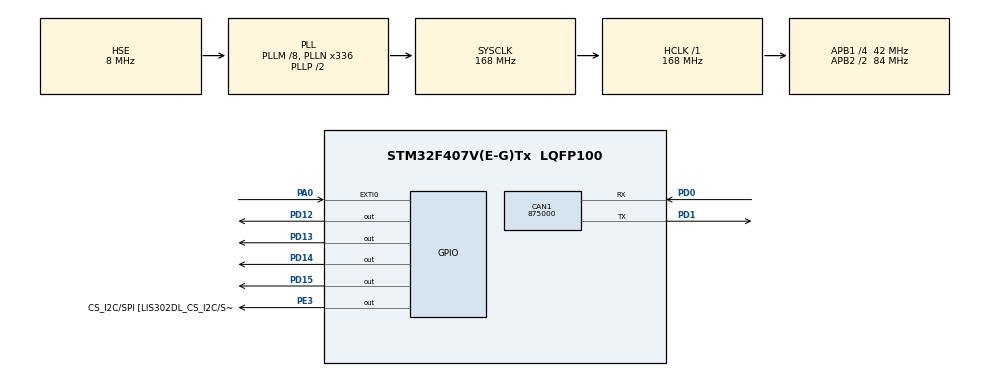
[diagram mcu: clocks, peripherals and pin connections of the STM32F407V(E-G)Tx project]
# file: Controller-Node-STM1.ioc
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CAN1.CalculateBaudRate=875000
CAN1.CalculateTimeBit=1142.85
CAN1.CalculateTimeQuantum=380.95238095238096
Mcu.Family=STM32F4
Mcu.Name=STM32F407V(E-G)Tx
Mcu.Package=LQFP100
NVIC.EXTI0_IRQn=true\:0\:0\:false\:false\:true\:true\:true
NVIC.PriorityGroup=NVIC_PRIORITYGROUP_0
PA0-WKUP.Signal=GPXTI0
PD0.Mode=CAN_Activate
PD0.Signal=CAN1_RX
PD1.Mode=CAN_Activate
PD1.Signal=CAN1_TX
PD12.Signal=GPIO_Output
PD13.Signal=GPIO_Output
PD14.Signal=GPIO_Output
PD15.Signal=GPIO_Output
PE3.GPIO_Label=CS_I2C/SPI [LIS302DL_CS_I2C/SPI]
PE3.GPIO_PuPd=GPIO_NOPULL
PE3.GPIO_Speed=GPIO_SPEED_FREQ_LOW
PE3.Signal=GPIO_Output
PH0-OSC_IN.GPIO_Label=PH0-OSC_IN
PH0-OSC_IN.Mode=HSE-External-Oscillator
PH0-OSC_IN.Signal=RCC_OSC_IN
PH1-OSC_OUT.GPIO_Label=PH1-OSC_OUT
PH1-OSC_OUT.Mode=HSE-External-Oscillator
PH1-OSC_OUT.Signal=RCC_OSC_OUT
ProjectManager.HeapSize=0x200
ProjectManager.StackSize=0x400
ProjectManager.TargetToolchain=STM32CubeIDE
RCC.48MHZClocksFreq_Value=48000000
RCC.AHBFreq_Value=168000000
RCC.APB1CLKDivider=RCC_HCLK_DIV4
RCC.APB1Freq_Value=42000000
RCC.APB1TimFreq_Value=84000000
RCC.APB2CLKDivider=RCC_HCLK_DIV2
RCC.APB2Freq_Value=84000000
RCC.APB2TimFreq_Value=168000000
RCC.CortexFreq_Value=168000000
RCC.HCLKFreq_Value=168000000
RCC.HSE_VALUE=8000000
RCC.HSI_VALUE=16000000
RCC.LSE_VALUE=32768
RCC.PLLM=8
RCC.PLLN=336
RCC.PLLQ=7
RCC.PLLSourceVirtual=RCC_PLLSOURCE_HSE
RCC.SYSCLKFreq_VALUE=168000000
RCC.SYSCLKSource=RCC_SYSCLKSOURCE_PLLCLK
RCC.VCOOutputFreq_Value=336000000
board=STM32F407G-DISC1

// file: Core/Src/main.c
/* USER CODE BEGIN Header */
/**
  ******************************************************************************
  * @file           : main.c
  * @brief          : Main program body
  ******************************************************************************
  * @attention
  *
  * <h2><center>&copy; Copyright (c) 2021 STMicroelectronics.
  * All rights reserved.</center></h2>
  *
  * This software component is licensed by ST under Ultimate Liberty license
  * SLA0044, the "License"; You may not use this file except in compliance with
  * the License. You may obtain a copy of the License at:
  *                             www.st.com/SLA0044
  *
  ******************************************************************************
  */
/* USER CODE END Header */
#include "main.h"

CAN_HandleTypeDef hcan1;

/* USER CODE BEGIN PV */
CAN_TxHeaderTypeDef pTxHeader; //CAN Tx Header
CAN_RxHeaderTypeDef pRxHeader; //CAN Rx Header
uint32_t pTxMailbox;
uint8_t a,r; //transmit, receive byte through CAN
CAN_FilterTypeDef sFilterConfig; //CAN filter configuration

/* USER CODE END PV */

void SystemClock_Config(void);
static void MX_GPIO_Init(void);
static void MX_CAN1_Init(void);
/* USER CODE BEGIN PFP */
static void CAN_TxHeader_Init(CAN_TxHeaderTypeDef *pTxHeader, uint32_t dlc,uint32_t ide,uint32_t rtr,uint32_t stdId);
static void CAN_Filter_Init(CAN_HandleTypeDef *hcan, CAN_FilterTypeDef *sFilterConfig, uint32_t fifo,uint32_t highId,uint32_t lowId,uint32_t highMask,uint32_t lowMask,uint32_t scale);
HAL_StatusTypeDef CANsend(CAN_HandleTypeDef *hcan, CAN_TxHeaderTypeDef *pTxHeader, uint8_t data[], uint32_t *pTxMailbox);
/* USER CODE END PFP */

int main(void)
{

  /* MCU Configuration--------------------------------------------------------*/

  /* Reset of all peripherals, Initializes the Flash interface and the Systick. */
  HAL_Init();

  /* Configure the system clock */
  SystemClock_Config();

  /* Initialize all configured peripherals */
  MX_GPIO_Init();
  MX_CAN1_Init();
  /* USER CODE BEGIN 2 */

  //Initialize CAN header - standard id type, set standard Id = filter ID of other device
    CAN_TxHeader_Init(&pTxHeader, 1,CAN_ID_STD, CAN_RTR_DATA, 0x244);

    //Initialize CAN filter - filter ID = TxHeader Id of other device, 32 bit scale. Enables and configs filter.
    CAN_Filter_Init(&hcan1, &sFilterConfig, CAN_FILTER_FIFO0, 0x245, 0, 0, 0, CAN_FILTERSCALE_32BIT);

    //start CAN
    HAL_CAN_Start(&hcan1);

    //interrupt on message pending
    HAL_CAN_ActivateNotification(&hcan1, CAN_IT_RX_FIFO0_MSG_PENDING);
  /* USER CODE END 2 */

  /* Infinite loop */
  /* USER CODE BEGIN WHILE */
  while (1)
  {
	  for (int n=0;n<10000000;n++); //delay
	  a++; //increment 8 bit data
	  CANsend(&hcan1, &pTxHeader, &a, &pTxMailbox);
    /* USER CODE END WHILE */

  }
}

void SystemClock_Config(void)
{
  RCC_OscInitTypeDef RCC_OscInitStruct = {0};
  RCC_ClkInitTypeDef RCC_ClkInitStruct = {0};

  /** Configure the main internal regulator output voltage
  */
  __HAL_RCC_PWR_CLK_ENABLE();
  __HAL_PWR_VOLTAGESCALING_CONFIG(PWR_REGULATOR_VOLTAGE_SCALE1);
  /** Initializes the RCC Oscillators according to the specified parameters
  * in the RCC_OscInitTypeDef structure.
  */
  RCC_OscInitStruct.OscillatorType = RCC_OSCILLATORTYPE_HSE;
  RCC_OscInitStruct.HSEState = RCC_HSE_ON;
  RCC_OscInitStruct.PLL.PLLState = RCC_PLL_ON;
  RCC_OscInitStruct.PLL.PLLSource = RCC_PLLSOURCE_HSE;
  RCC_OscInitStruct.PLL.PLLM = 8;
  RCC_OscInitStruct.PLL.PLLN = 336;
  RCC_OscInitStruct.PLL.PLLP = RCC_PLLP_DIV2;
  RCC_OscInitStruct.PLL.PLLQ = 7;
  if (HAL_RCC_OscConfig(&RCC_OscInitStruct) != HAL_OK)
  {
    Error_Handler();
  }
  /** Initializes the CPU, AHB and APB buses clocks
  */
  RCC_ClkInitStruct.ClockType = RCC_CLOCKTYPE_HCLK|RCC_CLOCKTYPE_SYSCLK
                              |RCC_CLOCKTYPE_PCLK1|RCC_CLOCKTYPE_PCLK2;
  RCC_ClkInitStruct.SYSCLKSource = RCC_SYSCLKSOURCE_PLLCLK;
  RCC_ClkInitStruct.AHBCLKDivider = RCC_SYSCLK_DIV1;
  RCC_ClkInitStruct.APB1CLKDivider = RCC_HCLK_DIV4;
  RCC_ClkInitStruct.APB2CLKDivider = RCC_HCLK_DIV2;

  if (HAL_RCC_ClockConfig(&RCC_ClkInitStruct, FLASH_LATENCY_5) != HAL_OK)
  {
    Error_Handler();
  }
}

static void MX_CAN1_Init(void)
{

  hcan1.Instance = CAN1;
  hcan1.Init.Prescaler = 16;
  hcan1.Init.Mode = CAN_MODE_NORMAL;
  hcan1.Init.SyncJumpWidth = CAN_SJW_1TQ;
  hcan1.Init.TimeSeg1 = CAN_BS1_1TQ;
  hcan1.Init.TimeSeg2 = CAN_BS2_1TQ;
  hcan1.Init.TimeTriggeredMode = DISABLE;
  hcan1.Init.AutoBusOff = DISABLE;
  hcan1.Init.AutoWakeUp = DISABLE;
  hcan1.Init.AutoRetransmission = DISABLE;
  hcan1.Init.ReceiveFifoLocked = DISABLE;
  hcan1.Init.TransmitFifoPriority = DISABLE;
  if (HAL_CAN_Init(&hcan1) != HAL_OK)
  {
    Error_Handler();
  }

}

static void MX_GPIO_Init(void)
{
  GPIO_InitTypeDef GPIO_InitStruct = {0};

  /* GPIO Ports Clock Enable */
  __HAL_RCC_GPIOE_CLK_ENABLE();
  __HAL_RCC_GPIOH_CLK_ENABLE();
  __HAL_RCC_GPIOA_CLK_ENABLE();
  __HAL_RCC_GPIOD_CLK_ENABLE();

  /*Configure GPIO pin Output Level */
  HAL_GPIO_WritePin(GPIOE, GPIO_PIN_3, GPIO_PIN_RESET);

  /*Configure GPIO pin Output Level */
  HAL_GPIO_WritePin(GPIOD, GPIO_PIN_12|GPIO_PIN_13|GPIO_PIN_14|GPIO_PIN_15, GPIO_PIN_RESET);

  /*Configure GPIO pin : PE3 */
  GPIO_InitStruct.Pin = GPIO_PIN_3;
  GPIO_InitStruct.Mode = GPIO_MODE_OUTPUT_PP;
  GPIO_InitStruct.Pull = GPIO_NOPULL;
  GPIO_InitStruct.Speed = GPIO_SPEED_FREQ_LOW;
  HAL_GPIO_Init(GPIOE, &GPIO_InitStruct);

  /*Configure GPIO pin : PA0 */
  GPIO_InitStruct.Pin = GPIO_PIN_0;
  GPIO_InitStruct.Mode = GPIO_MODE_IT_RISING;
  GPIO_InitStruct.Pull = GPIO_NOPULL;
  HAL_GPIO_Init(GPIOA, &GPIO_InitStruct);

  /*Configure GPIO pins : PD12 PD13 PD14 PD15 */
  GPIO_InitStruct.Pin = GPIO_PIN_12|GPIO_PIN_13|GPIO_PIN_14|GPIO_PIN_15;
  GPIO_InitStruct.Mode = GPIO_MODE_OUTPUT_PP;
  GPIO_InitStruct.Pull = GPIO_NOPULL;
  GPIO_InitStruct.Speed = GPIO_SPEED_FREQ_LOW;
  HAL_GPIO_Init(GPIOD, &GPIO_InitStruct);

  /* EXTI interrupt init*/
  HAL_NVIC_SetPriority(EXTI0_IRQn, 0, 0);
  HAL_NVIC_EnableIRQ(EXTI0_IRQn);

}

/* USER CODE BEGIN 4 */
/**
  * @brief CAN Tx Header Initialization Function
  * @param pTxHeader : CAN Tx header structure.
  * 	   dlc       : Specifies the length of the frame that will be transmitted.
  *        ide       : Specifies the type of identifier for the message that will be transmitted.
  *        rtr 	     : Specifies the type of frame for the message that will be transmitted.
  *        stdId     : Specifies the standard identifier. This parameter can be a value between 0x0000 and 0x07FF.
  * @retval None
  */
static void CAN_TxHeader_Init(CAN_TxHeaderTypeDef *pTxHeader, uint32_t dlc,uint32_t ide,uint32_t rtr,uint32_t stdId)
{
	  pTxHeader->DLC = dlc; // 'dlc' bytes of data
	  pTxHeader->IDE = ide;
	  pTxHeader->RTR = rtr;
	  pTxHeader->StdId = stdId; //set standard identifier.
}

/**
  * @brief CAN Filter Initialization Function
  * @param hcan          : pointer to a CAN_HandleTypeDef structure that contains the configuration information for the specified CAN.
  *        sFilterConfig : pointer to a CAN_FilterTypeDef structure.
  * 	   fifo          : Specifies the FIFO (0 or 1) which will be assigned to the filter. This parameter can be a value of CAN_filter_FIFO
  * 	   highID        : Specifies the filter identification number (MSBs for a 32-bit configuration, first one for a 16-bit configuration). This parameter can be a value between 0x0000 and 0xFFFF
  * 	   lowID         : Specifies the filter identification number (LSBs for a 32-bit configuration, second one for a 16-bit configuration). This parameter can be a value between 0x0000 and 0xFFFF
  * 	   highMask      : Specifies the filter mask number or identification number, according to the mode (MSBs for a 32-bit configuration, first one for a 16-bit configuration). This parameter can be a value between 0x0000 and 0xFFFF
  * 	   lowMask       : Specifies the filter mask number or identification number, according to the mode (LSBs for a 32-bit configuration, second one for a 16-bit configuration). This parameter can be a value between 0x0000 and 0xFFFF
  * 	   scale         : Specifies the filter scale. This parameter can be a value of CAN_filter_scale
  * @retval None
  */
static void CAN_Filter_Init(CAN_HandleTypeDef *hcan, CAN_FilterTypeDef *sFilterConfig, uint32_t fifo,uint32_t highId,uint32_t lowId,uint32_t highMask,uint32_t lowMask,uint32_t scale)
{
	  sFilterConfig->FilterFIFOAssignment = fifo;
	  sFilterConfig->FilterIdHigh = highId<<5; //must be shifted 5 bits to the left according to reference manual
	  sFilterConfig->FilterIdLow = lowId;
	  sFilterConfig->FilterMaskIdHigh = highMask;
	  sFilterConfig->FilterMaskIdLow = lowMask;
	  sFilterConfig->FilterScale = scale;
	  sFilterConfig->FilterActivation = CAN_FILTER_ENABLE; //enable activation

	  HAL_CAN_ConfigFilter(hcan, sFilterConfig); //config CAN filter
}

/**
  * @brief CAN Transmit (after header, filter config)
  * @param hcan       : pointer to a CAN_HandleTypeDef structure that contains the configuration information for the specified CAN.
  *        pTxHeader  : pointer to a CAN_TxHeaderTypeDef structure.
  *        data       : array containing the payload of the Tx frame.
  *        pTxMailbox : pointer to a variable where the function will return the TxMailbox used to store the Tx message. This parameter can be a value of @arg CAN_Tx_Mailboxes.
  * @retval None
  */
HAL_StatusTypeDef CANsend(CAN_HandleTypeDef *hcan, CAN_TxHeaderTypeDef *pTxHeader, uint8_t data[], uint32_t *pTxMailbox)
{
	return (HAL_CAN_AddTxMessage(hcan, pTxHeader, data, pTxMailbox)); //transmit over CAN, return HAL status
}
/* USER CODE END 4 */

void Error_Handler(void)
{
  __disable_irq();
  while (1)
  {
  }
}

/************************ (C) COPYRIGHT STMicroelectronics *****END OF FILE****/
